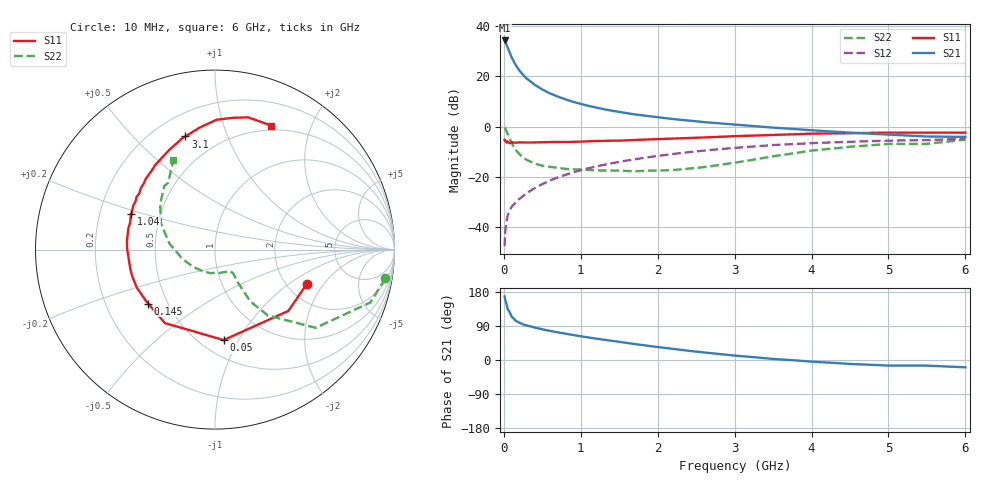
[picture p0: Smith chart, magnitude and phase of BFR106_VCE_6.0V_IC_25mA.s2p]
! Infineon Technologies  Discrete & RF Semiconductors
! BFR106
! VCE =  6.0 V,  IC =  25 mA
! Common Emitter S-Parameters:  Nov 2015
# GHz  S  MA  R  50
!  f  S11  S21  S12  S22
! GHz  MAG  ANG  MAG  ANG  MAG  ANG  MAG  ANG
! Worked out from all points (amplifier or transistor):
!   210 points, 10 MHz to 6 GHz, reference 50 ohm
!   highest |S21| = 34.2 dB at 10 MHz (marker M1)
!   |S21| within 3 dB of that: start of sweep to 51.98 MHz
!   unconditionally stable (mu >= 1): 359.2 MHz to 2.134 GHz
!   at 185 MHz: K = 0.81, MSG = 26.1 dB, |S12| = -29.2 dB
!   at 1.52 GHz: K = 1.05, MAG = 8.4 dB, |S12| = -13.9 dB
!   at 6 GHz: K = 0.99, MSG = 0.4 dB, |S12| = -4.8 dB
!   S11 on the Smith chart (normalised r, x): 10 MHz: 2.54, -1.39; 50 MHz: 0.64, -0.87; 145 MHz: 0.39, -0.30; 1.04 GHz: 0.34, +0.18; 3.1 GHz: 0.33, +0.72; 6 GHz: 0.45, +1.46
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0.01  0.5463 -20.6  51.53 167.6  0.0042 82.9  0.9623 -9.6
0.02  0.5327 -39.9  48.7 157.6  0.0088 75.5  0.9142 -18.8
0.05  0.5064 -84.5  37.06 134.2  0.0173 61.4  0.7107 -37.8
0.1  0.4954 -124.3  23.98 114.6  0.0253 55.5  0.4715 -51.2
0.145  0.4786 -141.1  17.65 105.6  0.0302 56.3  0.362 -55.1
0.15  0.4793 -143.0  16.99 104.2  0.0307 56.4  0.35 -55.7
0.2  0.4843 -154.0  13.13 98.5  0.0364 59.4  0.2854 -55.5
0.24  0.4838 -160.2  11.11 94.9  0.0406 61.0  0.2501 -55.3
0.26  0.4842 -162.7  10.27 93.3  0.0428 61.8  0.2364 -55.3
0.3  0.4841 -166.9  8.925 90.7  0.0474 63.5  0.2169 -55.1
0.4  0.4846 -175.7  6.782 85.5  0.0598 66.2  0.1841 -53.5
0.5  0.4897 179.3  5.445 80.8  0.0716 67.6  0.1666 -52.5
0.6  0.493 174.1  4.569 76.7  0.0847 67.9  0.1584 -53.1
0.8  0.4971 166.0  3.468 69.4  0.11 67.8  0.1443 -56.4
1.02  0.5056 157.8  2.769 62.1  0.1384 66.4  0.1399 -61.9
1.04  0.5064 157.0  2.722 61.4  0.1409 66.3  0.1394 -62.7
1.4  0.5267 146.1  2.07 50.7  0.1865 62.9  0.1337 -76.3
2.02  0.5619 129.3  1.516 33.7  0.2636 55.1  0.1339 -109.2
3.1  0.6519 104.7  1.062 10.0  0.3875 39.6  0.2022 -171.4
4.1  0.7262 87.9  0.826 -5.4  0.4765 24.4  0.3445 151.1
5.1  0.7583 74.7  0.681 -14.8  0.5282 10.8  0.4533 127.9
6  0.7589 65.6  0.624 -19.3  0.575 0.4  0.5501 114.9
